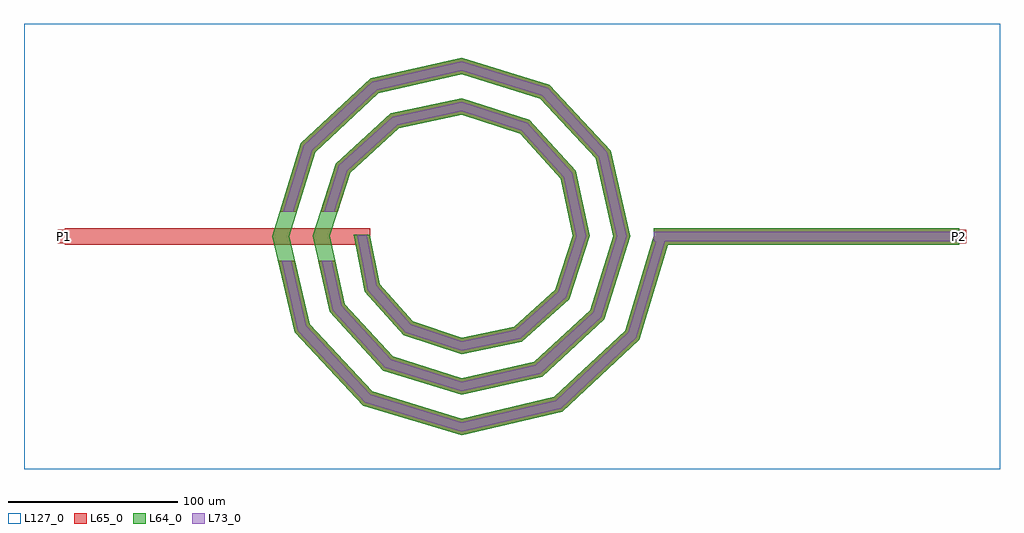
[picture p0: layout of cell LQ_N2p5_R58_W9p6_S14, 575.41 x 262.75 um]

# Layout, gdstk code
import gdstk
lib = gdstk.Library(unit=1e-6, precision=1e-09)
def R(c, l, rs):  # rectangles x0, y0, x1, y1
    for r in rs: c.add(gdstk.rectangle(r[:2], r[2:], *l))
def P(c, l, *ps):  # polygons
    for p in ps: c.add(gdstk.Polygon(p, *l))
L64_0 = (64, 0)
L65_0 = (65, 0)
L73_0 = (73, 0)
L127_0 = (127, 0)

lq_n2p5_r58_w9p6_s14 = lib.new_cell('LQ_N2p5_R58_W9p6_S14')
R(lq_n2p5_r58_w9p6_s14, L64_0, [(113.545,-4.8,293.545,4.8)])
P(lq_n2p5_r58_w9p6_s14, L64_0, [(-48.081,-28.11),(-28.587,-50.102),(0.285,-59.672),(31.07,-53.262),(55.257,-31.592),(65.639,0.261),(58.44,34.034),(34.594,60.413),(0.241,71.606),(-37.001,63.618),(-65.572,37.594),(-77.573,0.223),(-68.794,-39.97),(-40.591,-70.732),(0.208,-83.54),(42.941,-73.969),(75.893,-43.587),(89.507,0.195),(79.143,45.914),(46.581,81.055),(0.184,95.475),(-48.888,84.316),(-86.217,49.574),(-101.442,0.173),(-89.489,-51.863),(-52.566,-91.381),(0.164,-107.41),(54.839,-94.662),(96.544,-55.557),(113.75,1.388),(122.94,-1.388),(104.989,-60.799),(59.527,-103.426),(0.164,-117.344),(-57.822,-99.816),(-98.262,-56.535),(-111.376,0.173),(-94.643,54.846),(-53.543,93.099),(0.184,105.408),(51.871,89.469),(87.936,50.549),(99.44,0.195),(84.295,-48.898),(47.554,-82.773),(0.208,-93.471),(-45.925,-79.119),(-77.612,-44.557),(-87.503,0.223),(-73.942,42.955),(-41.559,72.451),(0.241,81.534),(39.986,68.764),(67.292,38.558),(75.566,0.261),(63.584,-37.021),(35.554,-62.134),(0.285,-69.597),(-34.058,-58.402),(-56.978,-32.546),(-63.371,0.952),(-53.962,0.952)])
R(lq_n2p5_r58_w9p6_s14, L65_0, [(-233.867,-4.8,-53.867,4.8), (113.545,-4.8,293.545,4.8), (-237.867,-4,-229.867,4), (289.545,-4,297.545,4)])
P(lq_n2p5_r58_w9p6_s14, L65_0, [(-89.489,-51.863),(-52.566,-91.381),(0.164,-107.41),(54.839,-94.662),(96.544,-55.557),(113.75,1.388),(122.94,-1.388),(104.989,-60.799),(59.527,-103.426),(0.164,-117.344),(-57.822,-99.817),(-98.262,-56.535),(-108.006,-14.4),(-98.153,-14.4)],
  [(-68.794,-39.97),(-40.591,-70.732),(0.208,-83.54),(42.941,-73.969),(75.893,-43.587),(89.508,0.195),(79.143,45.914),(46.581,81.055),(0.184,95.475),(-48.888,84.316),(-86.217,49.574),(-96.982,14.4),(-107.022,14.4),(-94.643,54.846),(-53.543,93.099),(0.184,105.408),(51.871,89.469),(87.936,50.549),(99.44,0.195),(84.295,-48.898),(47.554,-82.773),(0.208,-93.471),(-45.925,-79.119),(-77.612,-44.557),(-84.273,-14.4),(-74.442,-14.4)],
  [(-28.587,-50.102),(0.285,-59.672),(31.07,-53.262),(55.257,-31.592),(65.639,0.261),(58.44,34.034),(34.594,60.413),(0.241,71.606),(-37.001,63.618),(-65.572,37.594),(-72.932,14.4),(-83.004,14.4),(-73.942,42.955),(-41.559,72.451),(0.241,81.534),(39.986,68.764),(67.292,38.558),(75.566,0.261),(63.585,-37.021),(35.554,-62.134),(0.285,-69.597),(-34.058,-58.402),(-56.978,-32.546),(-63.371,0.952),(-53.962,0.952),(-48.081,-28.11)])
R(lq_n2p5_r58_w9p6_s14, L73_0, [(113.545,-2.8,293.545,2.8)])
P(lq_n2p5_r58_w9p6_s14, L73_0, [(-91.317,-52.837),(-53.661,-93.138),(0.096,-109.48),(55.816,-96.488),(98.304,-56.649),(115.664,0.81),(121.025,0.81),(103.23,-59.707),(58.55,-101.6),(0.096,-115.274),(-56.727,-98.059),(-96.435,-55.562),(-105.953,-14.4),(-100.205,-14.4)],
  [(-70.631,-40.926),(-41.702,-72.479),(0.122,-85.609),(43.902,-75.803),(77.643,-44.693),(91.577,0.114),(80.975,46.88),(47.683,82.808),(0.107,97.544),(-49.858,86.146),(-87.973,50.672),(-99.074,14.4),(-104.93,14.4),(-92.888,53.748),(-52.573,91.269),(0.107,103.338),(50.769,87.716),(86.104,49.583),(97.37,0.114),(82.544,-47.791),(46.593,-80.939),(0.122,-91.402),(-44.814,-77.372),(-75.775,-43.602),(-82.225,-14.4),(-76.49,-14.4)],
  [(-29.727,-51.831),(0.166,-61.74),(32.004,-55.11),(56.992,-32.723),(67.707,0.152),(60.284,34.976),(35.718,62.153),(0.14,73.674),(-37.95,65.458),(-67.316,38.711),(-75.031,14.4),(-80.906,14.4),(-72.199,41.838),(-40.609,70.611),(0.14,79.466),(38.863,67.025),(65.448,37.615),(73.498,0.152),(61.85,-35.89),(34.62,-60.286),(0.166,-67.529),(-32.918,-56.673),(-55.125,-31.622),(-61.411,0.555),(-55.922,0.555),(-49.935,-29.034)])
R(lq_n2p5_r58_w9p6_s14, L127_0, [(-257.867,-137.344,317.545,125.408)])
lq_n2p5_r58_w9p6_s14.add(gdstk.Label('P2', (293.545,0), layer=65, texttype=0))
lq_n2p5_r58_w9p6_s14.add(gdstk.Label('P1', (-233.867,0), layer=65, texttype=0))
lq_n2p5_r58_w9p6_s14.add(gdstk.Label('P2', (297.545,0), layer=145, texttype=0))
lq_n2p5_r58_w9p6_s14.add(gdstk.Label('P1', (-237.867,0), layer=145, texttype=0))

lib.write_gds('LQ_N2p5_R58_W9p6_S14.gds')
